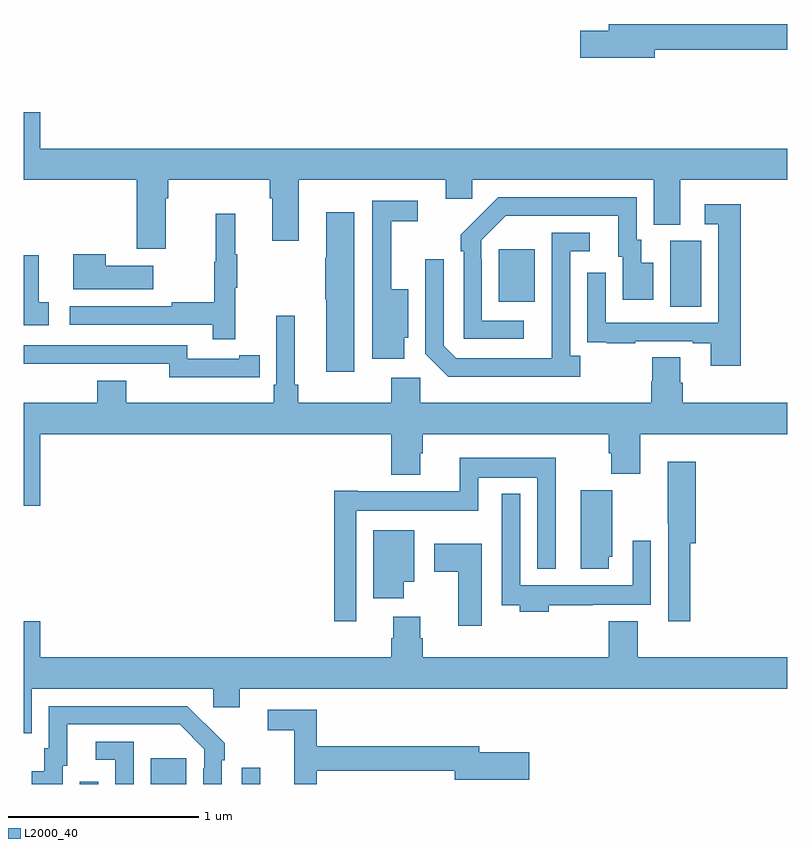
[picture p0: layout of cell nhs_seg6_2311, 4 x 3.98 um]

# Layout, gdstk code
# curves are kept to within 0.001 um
import gdstk
lib = gdstk.Library(unit=1e-6, precision=1e-09)
def R(c, l, rs):  # rectangles x0, y0, x1, y1
    for r in rs: c.add(gdstk.rectangle(r[:2], r[2:], *l))
def P(c, l, *ps):  # polygons
    for p in ps: c.add(gdstk.Polygon(p, *l))
L2000_40 = (2000, 40)

nhs_seg6_2311 = lib.new_cell('nhs_seg6_2311')
R(nhs_seg6_2311, L2000_40, [(249.294,949.5,249.39,949.513), (249.665,949.5,249.853,949.636), (250.143,949.5,250.239,949.585), (252.386,952,252.55,952.344), (251.489,952.025,251.677,952.3)])
P(nhs_seg6_2311, L2000_40, [(252.304,953.344),(253,953.344),(253,953.48),(252.065,953.48),(252.065,953.444),(251.916,953.444),(251.916,953.302),(252.304,953.302)],
  [(249.745,952.568),(249.758,952.568),(249.758,952.664),(250.289,952.664),(250.289,952.568),(250.301,952.568),(250.301,952.344),(250.441,952.344),(250.441,952.664),(251.21,952.664),(251.21,952.566),(251.349,952.566),(251.349,952.664),(252.299,952.664),(252.299,952.429),(252.439,952.429),(252.439,952.664),(253,952.664),(253,952.828),(249.088,952.828),(249.088,953.017),(249,953.017),(249,952.664),(249.593,952.664),(249.593,952.302),(249.745,952.302)],
  [(251.62,951.927),(251.4,951.927),(251.4,952.247),(251.397,952.247),(251.397,952.347),(251.526,952.476),(252.113,952.476),(252.113,952.26),(252.137,952.26),(252.137,952.035),(252.298,952.035),(252.298,952.231),(252.235,952.231),(252.235,952.35),(252.21,952.35),(252.21,952.572),(251.486,952.572),(251.289,952.377),(251.289,952.289),(251.304,952.289),(251.304,951.831),(251.62,951.831)],
  [(250.993,951.837),(251.014,951.837),(251.014,952.09),(250.925,952.09),(250.925,952.446),(251.065,952.446),(251.065,952.554),(250.827,952.554),(250.827,951.728),(250.993,951.728)],
  [(252.755,952.537),(252.567,952.537),(252.567,952.431),(252.639,952.431),(252.639,951.915),(252.048,951.915),(252.048,952.177),(251.952,952.177),(251.952,951.922),(251.953,951.922),(251.953,951.813),(252.055,951.813),(252.055,951.807),(252.203,951.807),(252.203,951.819),(252.503,951.819),(252.503,951.807),(252.599,951.807),(252.599,951.69),(252.755,951.69)],
  [(250.732,952.495),(250.586,952.495),(250.586,952.256),(250.579,952.256),(250.579,952.039),(250.586,952.039),(250.586,951.66),(250.732,951.66)],
  [(250.109,952.099),(250.12,952.099),(250.12,952.273),(250.109,952.273),(250.109,952.486),(250.006,952.486),(250.006,952.236),(249.999,952.236),(249.999,952.022),(249.775,952.022),(249.775,952.002),(249.243,952.002),(249.243,951.906),(249.991,951.906),(249.991,951.828),(250.109,951.828)],
  [(251.914,951.742),(251.862,951.742),(251.862,952.29),(251.965,952.29),(251.965,952.386),(251.766,952.386),(251.765,951.729),(251.265,951.729),(251.199,951.795),(251.199,952.249),(251.103,952.249),(251.103,951.753),(251.224,951.632),(251.914,951.632)],
  [(249.679,952.213),(249.431,952.213),(249.431,952.273),(249.26,952.273),(249.26,952.091),(249.679,952.091)],
  [(249.133,952.023),(249.08,952.023),(249.08,952.27),(249,952.27),(249,951.903),(249.133,951.903)],
  [(249.088,951.332),(250.925,951.332),(250.925,951.119),(251.077,951.119),(251.077,951.231),(251.09,951.231),(251.09,951.332),(252.065,951.332),(252.065,951.233),(252.077,951.233),(252.077,951.124),(252.23,951.124),(252.23,951.332),(253,951.332),(253,951.496),(252.452,951.496),(252.452,951.602),(252.439,951.602),(252.439,951.734),(252.292,951.734),(252.292,951.609),(252.287,951.609),(252.287,951.496),(251.076,951.496),(251.076,951.628),(250.925,951.628),(250.925,951.496),(250.439,951.496),(250.439,951.592),(250.42,951.592),(250.42,951.952),(250.323,951.952),(250.323,951.592),(250.31,951.592),(250.31,951.496),(249.538,951.496),(249.538,951.613),(249.386,951.613),(249.386,951.496),(249,951.496),(249,950.958),(249.088,950.958)],
  [(250.13,951.63),(250.238,951.63),(250.238,951.746),(250.13,951.746),(250.13,951.726),(249.858,951.726),(249.858,951.798),(249,951.798),(249,951.701),(249.302,951.701),(249.302,951.702),(249.762,951.702),(249.762,951.629),(250.13,951.629)],
  [(250.743,950.93),(251.382,950.93),(251.382,951.104),(251.691,951.104),(251.691,950.627),(251.788,950.627),(251.788,951.208),(251.285,951.208),(251.285,951.034),(250.75,951.034),(250.75,951.037),(250.627,951.037),(250.627,950.352),(250.743,950.352)],
  [(252.491,950.762),(252.521,950.762),(252.521,951.187),(252.374,951.187),(252.374,950.866),(252.375,950.866),(252.375,950.352),(252.491,950.352)],
  [(252.064,950.691),(252.082,950.691),(252.082,951.039),(251.918,951.039),(251.918,950.628),(252.064,950.628)],
  [(251.75,950.436),(251.981,950.436),(251.981,950.438),(252.285,950.438),(252.285,950.773),(252.189,950.773),(252.189,950.542),(251.601,950.542),(251.601,951.019),(251.505,951.019),(251.505,950.436),(251.597,950.436),(251.597,950.402),(251.75,950.402)],
  [(250.99,950.558),(251.047,950.558),(251.047,950.83),(250.832,950.83),(250.832,950.472),(250.99,950.472)],
  [(251.398,950.758),(251.151,950.758),(251.151,950.611),(251.276,950.611),(251.276,950.328),(251.398,950.328)],
  [(249.043,950),(249.993,950),(249.993,949.902),(250.132,949.902),(250.132,950),(253,950),(253,950.164),(252.217,950.164),(252.217,950.353),(252.065,950.353),(252.065,950.164),(251.09,950.164),(251.09,950.262),(251.077,950.262),(251.077,950.377),(250.937,950.377),(250.937,950.262),(250.925,950.262),(250.925,950.164),(249.088,950.164),(249.088,950.353),(249,950.353),(249,949.765),(249.043,949.765)],
  [(249.205,949.596),(249.229,949.596),(249.229,949.812),(249.817,949.812),(249.945,949.683),(249.945,949.583),(249.942,949.583),(249.942,949.5),(250.038,949.5),(250.038,949.625),(250.053,949.625),(250.053,949.713),(249.856,949.908),(249.132,949.908),(249.132,949.686),(249.107,949.686),(249.107,949.567),(249.044,949.567),(249.044,949.5),(249.205,949.5)],
  [(250.535,949.57),(251.258,949.57),(251.258,949.523),(251.647,949.523),(251.647,949.665),(251.386,949.665),(251.386,949.699),(250.535,949.699),(250.535,949.89),(250.278,949.89),(250.278,949.782),(250.418,949.782),(250.418,949.5),(250.535,949.5)],
  [(249.576,949.722),(249.378,949.722),(249.378,949.626),(249.48,949.626),(249.48,949.5),(249.576,949.5)])

lib.write_gds('nhs_seg6_2311.gds')
